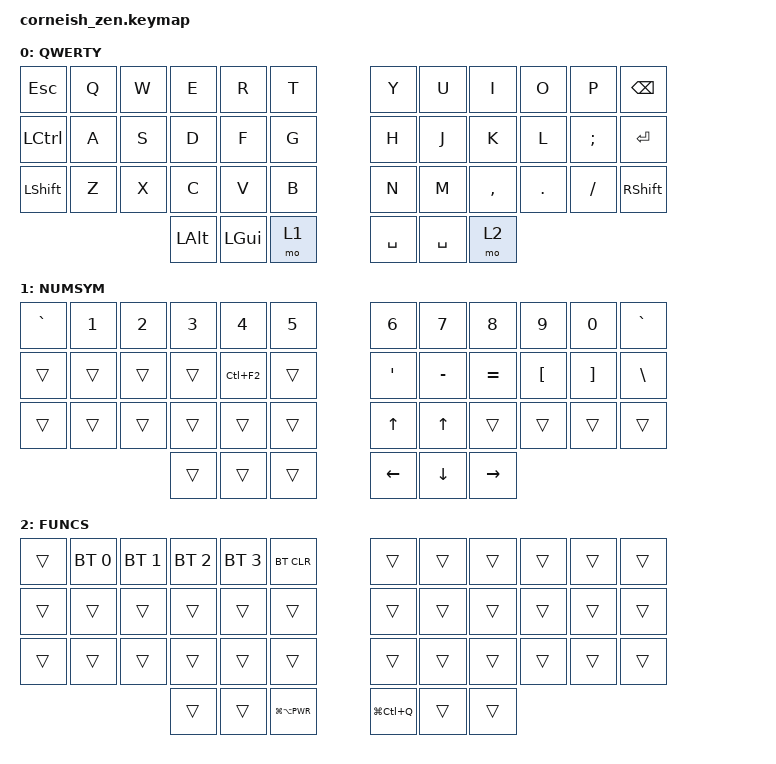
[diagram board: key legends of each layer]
#include <behaviors.dtsi>
#include <dt-bindings/zmk/keys.h>
#include <dt-bindings/zmk/bt.h>

/ {
  chosen {
    zmk,matrix_transform = &default_transform;
    //zmk,matrix_transform = &five_column_transform;
  };
};

/ {
        keymap {
                compatible = "zmk,keymap";

                default_layer {
                        label = "QWERTY";
// -----------------------------------------------------------------------------------------
// |  ESC  |  Q  |  W  |  E  |  R  |  T  |   |  Y  |  U  |  I  |  O  |  P  | BKSP |
// |  CTRL |  A  |  S  |  D  |  F  |  G  |   |  H  |  J  |  K  |  L  |  ;: | ENT  |
// |  SHFT |  Z  |  X  |  C  |  V  |  B  |   |  N  |  M  |  ,< |  .> |  /? | SHFT |
//                     | ALT | GUI | LWR |   | SPC | SPC | RSE |
                        bindings = <
   &kp ESC   &kp Q &kp W &kp E &kp R &kp T   &kp Y &kp U  &kp I     &kp O   &kp P    &kp BSPC
   &kp LCTRL &kp A &kp S &kp D &kp F &kp G   &kp H &kp J  &kp K     &kp L   &kp SEMI &kp RET
   &kp LSHFT &kp Z &kp X &kp C &kp V &kp B   &kp N &kp M  &kp COMMA &kp DOT &kp FSLH &kp RSHFT
                   &kp LALT &kp LGUI &mo 1   &kp SPACE &kp SPACE &mo 2
                        >;
                };
                lower_layer {
                        label = "NUMSYM";
// -----------------------------------------------------------------------------------------
// |  `~     |  1!  |  2@  |  3#  |  4$  |  5%  |    |  6^  |  7&  |  8*  |  9(  |  0)  | `~  |
// |         |      |      |      | MENU |      |    |  '"  |  -_  |  =+  |  [{  |  ]}  | \|  |
// |         |      |      |      |      |      |    |  UP  |  UP  |      |      |      |     |
//                         |      |      |      |    | LEFT | DOWN | RGHT |
                        bindings = <
    &kp GRAVE &kp N1 &kp N2 &kp N3 &kp N4 &kp N5      &kp N6 &kp N7 &kp N8 &kp N9 &kp N0 &kp GRAVE
    &trans    &trans &trans &trans &kp LC(F2) &trans      &kp SQT &kp MINUS &kp EQUAL &kp LBKT &kp RBKT &kp BSLH
    &trans    &trans &trans &trans &trans &trans      &kp UP &kp UP &trans &trans &trans &trans
                            &trans &trans &trans      &kp LEFT &kp DOWN &kp RIGHT
                        >;
                };

                raise_layer {
                        label = "FUNCS";
// -----------------------------------------------------------------------------------------
// |      |  BT1 |  BT2 |  BT3 |  BT4 | BTCR |   |      |      |      |      |      |      |
// |      |      |      |      |      |      |   |      |      |      |      |      |      |
// |      |      |      |      |      |      |   |      |      |      |      |      |      |
//                      |      |      | SLEEP|   | LOCK |      |      |
                        bindings = <
    &trans &bt BT_SEL 0 &bt BT_SEL 1 &bt BT_SEL 2 &bt BT_SEL 3 &bt BT_CLR     &trans &trans &trans &trans &trans &trans
    &trans &trans &trans &trans &trans &trans     &trans &trans &trans &trans &trans &trans
    &trans &trans &trans &trans &trans &trans     &trans &trans &trans &trans &trans &trans
              &trans &trans &kp LG(LA(C_PWR))     &kp LG(LC(Q)) &trans &trans
                        >;
                };
        };
};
